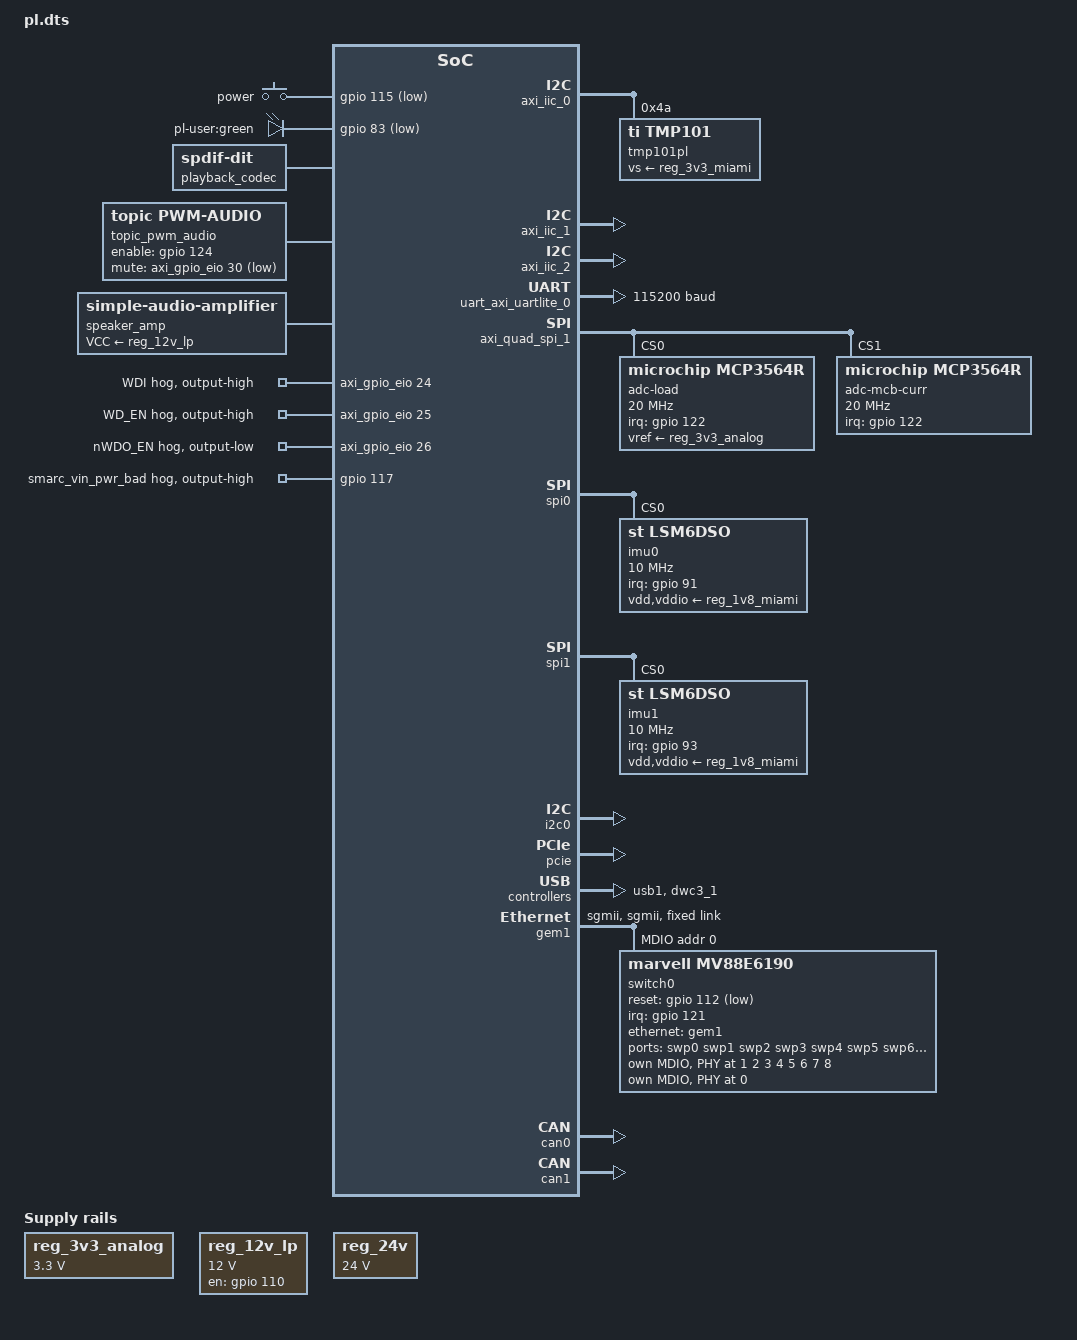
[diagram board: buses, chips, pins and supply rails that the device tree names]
/dts-v1/;
/plugin/;

#include <dt-bindings/input/input.h>
#include <dt-bindings/gpio/gpio.h>
#include <dt-bindings/phy/phy.h>
#include <dt-bindings/clock/xlnx-zynqmp-clk.h>
#include <dt-bindings/interrupt-controller/arm-gic.h>
#include <dt-bindings/interrupt-controller/irq.h>

/ {
	/* This fragment causes the FPGA image to load */
	fragment@0 {
		target = <&fpga_full>;
		__overlay__ {
			firmware-name = "fpga.bin.@BITSTREAM@";
		};
	};

	fragment@1 {
		target-path = "/";
		__overlay__ {
			gpio-key-power {
				compatible = "gpio-keys";
				#address-cells = <1>;
				#size-cells = <0>;
				power {
					label = "power";
					gpios = <&gpio 115 GPIO_ACTIVE_LOW>; /* EMIO 37, active low */
					linux,code = <116>; /* KEY_POWER */
				};
			};

			leds-pl {
				compatible = "gpio-leds";
				user-led {
					label = "pl-user:green";
					gpios = <&gpio 83 GPIO_ACTIVE_LOW>; /* EMIO 5 */
					linux,default-trigger = "mmc0"; /* Blink on eMMC activity */
				};
			};

			reg_3v3_analog: regulator-3v3-a {
				compatible = "regulator-fixed";
				regulator-name = "3v3a";
				regulator-min-microvolt = <3300000>;
				regulator-max-microvolt = <3300000>;
			};

			reg_12v_lp: regulator-12v-lp {
				compatible = "regulator-fixed";
				regulator-name = "lp-12v";
				regulator-min-microvolt = <12000000>;
				regulator-max-microvolt = <12000000>;
				gpio = <&gpio 110 GPIO_ACTIVE_HIGH>;
				enable-active-high;
				regulator-always-on;
			};

			reg_24v: regulator-24v-amp {
				compatible = "regulator-fixed";
				regulator-name = "24v";
				regulator-min-microvolt = <24000000>;
				regulator-max-microvolt = <24000000>;
			};

			/* Use S/PDIF transmitter as codec required by simple-audio-card */
			playback_codec: playback-codec {
				compatible = "linux,spdif-dit";
				#sound-dai-cells = <0>;
			};

			/* Audio */
			topic_pwm_audio: topic-pwm-audio {
				compatible = "topic,pwm-audio";
				dmas = <&axi_dmac_s 0>;
				dma-names = "tx";
				#sound-dai-cells = <0>;
				enable-gpios = <&gpio 124 GPIO_ACTIVE_HIGH>; /* EMIO 46 to enable audio core */
				mute-gpios = <&axi_gpio_eio 30 GPIO_ACTIVE_LOW>; /* Set nRESET to low to mute output */
			};

			speaker_amp: speaker-amplifier {
				compatible = "simple-audio-amplifier";
				/* nRESET of the amplifier chip */
				// enable-gpios = <&axi_gpio_eio 30 GPIO_ACTIVE_HIGH>;
				sound-name-prefix = "Speaker Amplifier";
				/* 12V analog supply */
				VCC-supply = <&reg_12v_lp>;
			};

			simple-audio {
				compatible = "simple-audio-card";
				simple-audio-card,name = "Simple-Audio";
				simple-audio-card,widgets =
					"Speaker", "Speaker";
				simple-audio-card,routing =
					"Speaker Amplifier INL", "spdif-out",
					"Speaker Amplifier INR", "spdif-out",
					"Speaker", "Speaker Amplifier OUTL",
					"Speaker", "Speaker Amplifier OUTR";
				simple-audio-card,aux-devs = <&speaker_amp>;

				#address-cells = <1>;
				#size-cells = <0>;

				playback_link: simple-audio-card,dai-link@0 {
					reg = <0>;
					format = "i2s"; /* PWM? */

					bitclock-master = <&p_cpu_dai>;
					frame-master = <&p_cpu_dai>;
					mclk-fs = <2048>;

					p_cpu_dai: cpu {
						/* Link to PWM audio controller and DMA */
						sound-dai = <&topic_pwm_audio>;
						clocks = <&si5345 0 7>;
					};

					p_codec_dai: codec {
						sound-dai = <&playback_codec>;
					};
				};
			};
		};
	};


	fragment@2 {
		target = <&amba>;
		__overlay__ {
			#address-cells = <2>;
			#size-cells = <2>;
			interrupt-parent = <&gic>;

			/* FAN controller */
			pl_fan_controller: fan-controller@a0003000 {
				compatible = "topic,axi-pwm-fan-controller";
				reg = <0x0 0xa0030000 0x0 0x10000>;
				nr-fans = <1>;
				clocks = <&zynqmp_clk PL1_REF>;
				topic,initial-pwm = <100>; /* Run at 40% */
				vcc-supply = <&reg_12v_lp>; /* Not used by driver yet */
			};

			/* temperature sensor on i2c Uses lm75 hwmon driver */
			axi_iic_0: i2c@80000000 {
				#address-cells = <1>;
				#size-cells = <0>;
				clock-names = "s_axi_aclk";
				clocks = <&zynqmp_clk PL0_REF>;
				compatible = "xlnx,axi-iic-2.0", "xlnx,xps-iic-2.00.a";
				interrupt-names = "iic2intc_irpt";
				interrupt-parent = <&gic>;
				interrupts = <0 89 4>; /* PL0 - 0 (89 + 0)*/
				reg = <0x0 0x80000000 0x0 0x1000>;

				tmp101pl: sensor@4a{
					compatible = "ti,tmp101";
					reg = <0x4a>;
					vs-supply = <&reg_3v3_miami>;
				};
			};
			/* I2C Key E */
			axi_iic_1: i2c@a0000000 {
				#address-cells = <1>;
				#size-cells = <0>;
				clock-names = "s_axi_aclk";
				clocks = <&zynqmp_clk PL1_REF>;
				compatible = "xlnx,xps-iic-2.00.a";
				interrupt-names = "iic2intc_irpt";
				interrupt-parent = <&gic>;
				interrupts = <0 104 4>; /* PL1 - 0 (104 + 0)*/
				reg = <0x0 0xa0000000 0x0 0x1000>;

			};
			/* I2C Key B */
			axi_iic_2: i2c@a0010000 {
				#address-cells = <1>;
				#size-cells = <0>;
				clock-names = "s_axi_aclk";
				clocks = <&zynqmp_clk PL1_REF>;
				compatible = "xlnx,xps-iic-2.00.a";
				interrupt-names = "iic2intc_irpt";
				interrupt-parent = <&gic>;
				interrupts = <0 105 4>; /* PL1 - 1 (104 + 1) */
				reg = <0x0 0xa0010000 0x0 0x1000>;

			};
			/* UART key E */
			uart_axi_uartlite_0: serial@a0050000 {
				clock-names = "s_axi_aclk";
				clocks = <&zynqmp_clk PL1_REF>;
				compatible = "xlnx,xps-uartlite-1.00.a";
				current-speed = <115200>;
				device_type = "serial";
				interrupt-names = "interrupt";
				interrupt-parent = <&gic>;
				interrupts = <0 91 4>; /* PL0 - 2 (89+2) */
				port-number = <0>;
				reg = <0x0 0xa0050000 0x0 0x10000>;
				xlnx,baudrate = <0x2580>;
				xlnx,data-bits = <0x8>;
				xlnx,odd-parity = <0x0>;
				xlnx,s-axi-aclk-freq-hz-d = "99.999001";
				xlnx,use-parity = <0x0>;
			};
			/* Real time gpio controller */
			axi_gpio_eio: gpio@80010000 {
				#gpio-cells = <2>;
				clock-names = "s_axi_aclk";
				clocks = <&zynqmp_clk PL0_REF>;
				compatible = "xlnx,xps-gpio-1.00.a";
				gpio-controller;
				reg = <0x0 0x80010000 0x0 0x1000>;
				xlnx,all-inputs = <0x0>;
				xlnx,all-inputs-2 = <0x0>;
				xlnx,all-outputs = <0x0>;
				xlnx,all-outputs-2 = <0x0>;
				xlnx,dout-default = <0x00000000>;
				xlnx,dout-default-2 = <0x00000000>;
				xlnx,gpio-width = <32>;
				xlnx,gpio2-width = <24>;
				xlnx,interrupt-present = <0x0>;
				xlnx,is-dual = <1>;
				xlnx,tri-default = <0xFFFFFFFF>;
				xlnx,tri-default-2 = <0xFFFFFFFF>;
				/* According to the README in the fpga image, these are the line names */
				gpio-line-names = \
					"BUMPER0_11", "BUMPER0_12", "BUMPER0_33", "BUMPER0_34",
					"BUMPER1_11", "BUMPER1_12", "BUMPER1_33", "BUMPER1_34",
					"BUMPER2_11", "BUMPER2_12", "BUMPER2_33", "BUMPER2_34",
					"BUMPER3_11", "BUMPER3_12", "BUMPER3_33", "BUMPER3_34",
					"EMER_STOP0_11", "EMER_STOP0_12", "EMER_STOP0_21", "EMER_STOP0_22",
					"EMER_STOP1_11", "EMER_STOP1_12", "EMER_STOP1_21", "EMER_STOP1_22",
					"WDI", "WD_EN", "nWDI_EN", "ADC_IRQ_IMON",
					"AUDIO_CNRL_nCLIP", "AUDIO_CNRL_nFAULT", "AUDIO_CNRL_nRESET", "AUDIO_CNRL_nOTW",
					"adc_irq_loadcell", "INPUT_24V_0", "INPUT_24V_1", "INPUT_24V_2",
					"INPUT_24V_3", "INPUT_24V_4", "INPUT_24V_5", "INPUT_24V_6",
					"OUTPUT_24V_0", "OUTPUT_24V_1", "OUTPUT_24V_2", "OUTPUT_24V_3",
					"OUTPUT_24V_4", "OUTPUT_24V_5", "OUTPUT_24V_6", "OUTPUT_24V_7",
					"LED_SUPPLY_EN", "LED_SUPPLY_PGOOD", "LIDAR0_OSSD0", "LIDAR0_OSSD1",
					"LIDAR1_OSSD0", "LIDAR1_OSSD1", "LIDAR2_OSSD0", "LIDAR2_OSSD1";
				wdt-wdi {
					/* Enables the WDT timer signal from FPGA to watchdog */
					gpio-hog;
					gpios = <24 0>;
					output-high;
					line-name = "WDI";
				};
				wdt-wden {
					/* Enables the WDT */
					gpio-hog;
					gpios = <25 0>;
					output-high;
					line-name = "WD_EN";
				};
				wdt-nwdoen {
					/* Allows the FET_EN_3V3 to go high */
					gpio-hog;
					gpios = <26 0>;
					output-low;
					line-name = "nWDO_EN";
				};
			};

			/* SPI channel for ADCs */
			axi_quad_spi_1: spi@80020000 {
				compatible = "xlnx,xps-spi-2.00.a";
				interrupt-parent = <&gic>;
				interrupts = <0 92 4>; /* PL0 - 3 (89 + 3) */
				reg = <0x0 0x80020000 0x0 0x10000>;
				clock-names = "s_axi_aclk";
				clocks = <&zynqmp_clk PL0_REF>;
				#address-cells = <1>;
				#size-cells = <0>;
				is-dual = <0>;
				num-cs = <3>;
				fifo-size = <16>;
				bits-per-word = <8>;
				adc@0 { /* Load cell */
					compatible = "microchip,mcp3564r";
					reg = <0>;
					device-addr = <1>;
					spi-max-frequency = <20000000>;
					label = "adc-load";
					vref-supply = <&reg_3v3_analog>; /* Uses 3V3 reference */
					interrupt-parent = <&gpio>;
					interrupts = <122 IRQ_TYPE_LEVEL_LOW>; /* EMIO 44, shared */
					drive-open-drain;
				};
				adc@1 { /* MCB current */
					/* Chip select has wrong voltage, doesn't work */
					compatible = "microchip,mcp3564r";
					reg = <1>;
					device-addr = <1>;
					spi-max-frequency = <20000000>;
					label = "adc-mcb-curr";
					/* Use internal reference */
					interrupt-parent = <&gpio>;
					interrupts = <122 IRQ_TYPE_LEVEL_LOW>; /* EMIO 44, shared */
					drive-open-drain;
				};
			};

			axi_dmac_s: axi_dmac@a0060000 {
				compatible = "adi,axi-dmac-1.00.a";
				reg = <0 0xa0060000 0 0x10000>;
				interrupt-parent = <&gic>;
				interrupts = <0 106 4>; /* PL1 - 2 : 104 + 2 */
				clock-names = "s_axi_aclk", "m_dest_axi_aclk", "s_axis_aclk";
				clocks = <&zynqmp_clk PL1_REF>, <&zynqmp_clk PL1_REF>, <&zynqmp_clk PL1_REF>;
				#dma-cells = <1>;
				adi,channels {
					#size-cells = <0>;
					#address-cells = <1>;
					dma-channel@0 {
						reg = <0>;
						adi,source-bus-width = <128>;
						adi,source-bus-type = <0>; /* ADI_AXI_DMAC_TYPE_MM_AXI */
						adi,destination-bus-width = <32>;
						adi,destination-bus-type = <1>; /* AXI_DMAC_TYPE_AXI_STREAM */
					};
				};
			};
		};
	};

	fragment@4 {
		/* GEM 0 is connected via GMII to PCS/PMA 1000-BaseX interface */
		target = <&gem0>;
		__overlay__ {
			status = "disabled"; /* Doesn't work, so disable for now */
			phy-handle = <&gem0phy3>;
			phy-mode = "gmii";
			mdio {
				status = "okay";
				#address-cells = <1>;
				#size-cells = <0>;
				/* Add 100 ms extra delay */
				reset-gpios = <&gpio 125 GPIO_ACTIVE_HIGH>; /* EMIO 47 */
				reset-delay-us = <1000>;
				reset-post-delay-us = <100000>;
				gem0phy3: gem0phy@3 {
					reg = <3>;
					device_type = "ethernet-phy";
					xlnx,phy-type = <5>; /* XAE_PHY_TYPE_1000BASE_X */
				};
			};
		};
	};

	fragment@5 {
		target = <&spi0>; /* PS SPI 0 (not QSPI) */
		__overlay__ {
			status = "okay";
			num-cs = <1>;
			imu0: imu@0 {
				compatible = "st,lsm6dso";
				reg = <0>;
				interrupt-parent = <&gpio>;
				interrupts = <91 IRQ_TYPE_LEVEL_LOW>, <92 IRQ_TYPE_LEVEL_LOW>; /* EMIO 13 (+78), EMIO 14 */
				spi-max-frequency = <10000000>;
				label = "imu0";
				vdd-supply = <&reg_1v8_miami>;
				vddio-supply = <&reg_1v8_miami>;
			};
		};
	};

	fragment@6 {
		target = <&spi1>; /* PS SPI 1 (not QSPI) */
		__overlay__ {
			status = "okay";
			num-cs = <1>;
			imu1: imu@0 {
				compatible = "st,lsm6dso";
				reg = <0>;
				interrupt-parent = <&gpio>;
				interrupts = <93 IRQ_TYPE_LEVEL_LOW>, <94 IRQ_TYPE_LEVEL_LOW>; /* EMIO 15 (+78), EMIO 16 */
				spi-max-frequency = <10000000>;
				label = "imu1";
				vdd-supply = <&reg_1v8_miami>;
				vddio-supply = <&reg_1v8_miami>;
			};
		};
	};

	/*
	 * Devices on this bus require level shifters, which the FPGA enables.
	 * The PCIe and USB (at least) depend on the FPGA being programmed,
	 * as a result, we cannot use these devices and the I2C bus they're
	 * connected to.
	 */
	fragment@7 {
		target = <&i2c0>;
		__overlay__ {
			status = "okay";
		};
	};
	fragment@8 {
		target = <&pcie>;
		__overlay__ {
			status = "okay";
		};
	};
	fragment@9 {
		target = <&usb1>;
		__overlay__ {
			status = "okay";
		};
	};
	fragment@10 {
		target = <&dwc3_1>;
		__overlay__ {
			status = "okay";
		};
	};
	fragment@11 {
		target = <&gem1>;
		__overlay__ {
			status = "okay";
			phy-connection-type = "sgmii";
			phy-mode = "sgmii";
			fixed-link {
				speed = <1000>;
				full-duplex;
				pause;
			};

			mdio {
				status = "okay";
				#address-cells = <1>;
				#size-cells = <0>;

				switch0: switch@0 {
					compatible = "marvell,mv88e6190";
					reg = <0>;
					reset-gpios = <&gpio 112 GPIO_ACTIVE_LOW>; /* EMIO 34 (+ 78) */
					interrupt-parent = <&gpio>;
					interrupts = <121 IRQ_TYPE_LEVEL_LOW>; /* EMIO 43 */
					mdio {
						#address-cells = <1>;
						#size-cells = <0>;
						switch0phy1: switch0phy1@1 {
							reg = <1>;
						};
						switch0phy2: switch0phy2@2 {
							reg = <2>;
						};
						switch0phy3: switch0phy3@3 {
							reg = <3>;
						};
						switch0phy4: switch0phy4@4 {
							reg = <4>;
						};
						switch0phy5: switch0phy5@5 {
							reg = <5>;
						};
						switch0phy6: switch0phy6@6 {
							reg = <6>;
						};
						switch0phy7: switch0phy7@7 {
							reg = <7>;
						};
						switch0phy8: switch0phy8@8 {
							reg = <8>;
						};
					};

					mdio1 {
						compatible = "marvell,mv88e6xxx-mdio-external";
						#address-cells = <1>;
						#size-cells = <0>;
						reset-gpios = <&gpio 114 GPIO_ACTIVE_LOW>; /* EMIO 36 (+ 78) */
						/* 100ns, 15 ms */
						reset-delay-us = <1000>; /* 100 ns reset duration, but I don't trust the analog circuit, hence 1ms */
						reset-post-delay-us = <16000>; /* Access to SMI registers 15 ms after reset */
						switch1phy0: switch1phy0@0 {
							reg = <0>;
							device_type = "ethernet-phy";
							/* Disable EEE advertisement */
							eee-broken-100tx;
							eee-broken-1000t;
						};
					};

					ports {
						#address-cells = <0x1>;
						#size-cells = <0x0>;

						port@0 {
							reg = <0>;
							label = "swp0";
							/* External PHY */
							phy-handle = <&switch1phy0>;
							phy-mode = "rgmii";
						};

						port@1 {
							reg = <1>;
							label = "swp1";
							phy-handle = <&switch0phy1>;
						};

						port@2 {
							reg = <2>;
							label = "swp2";
							phy-handle = <&switch0phy2>;
						};

						port@3 {
							reg = <3>;
							label = "swp3";
							phy-handle = <&switch0phy3>;
						};

						port@4 {
							reg = <4>;
							label = "swp4";
							phy-handle = <&switch0phy4>;
						};

						port@5 {
							reg = <5>;
							label = "swp5";
							phy-handle = <&switch0phy5>;
						};

						port@6 {
							reg = <6>;
							label = "swp6";
							phy-handle = <&switch0phy6>;
						};

						port@7 {
							reg = <7>;
							label = "swp7";
							phy-handle = <&switch0phy7>;
						};

						port@8 {
							reg = <8>;
							label = "swp8";
							phy-handle = <&switch0phy8>;
						};

						/* Port 9 to PL */
						port@9 {
							reg = <9>;
							phy-mode = "1000base-x";
							/* ethernet = <&gem0>; */
							label = "swp9";
							status = "disabled"; /* Doesn't work, so disable for now */

							fixed-link {
								speed = <1000>;
								full-duplex;
								pause;
							};
						};

						/* Port 10 to PS GTR */
						port@a {
							reg = <10>;
							phy-mode = "sgmii";
							ethernet = <&gem1>;
							label = "cpu";

							fixed-link {
								speed = <1000>;
								full-duplex;
								pause;
							};
						};
					};
				};
			};
		};
	};
	fragment@12 {
		target = <&can0>;
		__overlay__ {
			status = "okay";
		};
	};
	fragment@13 {
		target = <&can1>;
		__overlay__ {
			status = "okay";
		};
	};

	fragment@14 {
		target = <&gpio>;
		__overlay__ {
			smarc-vin-pwr-bad {
				gpio-hog;
				gpios = <117 0>; /* EMIO 39 */
				output-high;
				line-name = "smarc_vin_pwr_bad";
			};
		};
	};
};
